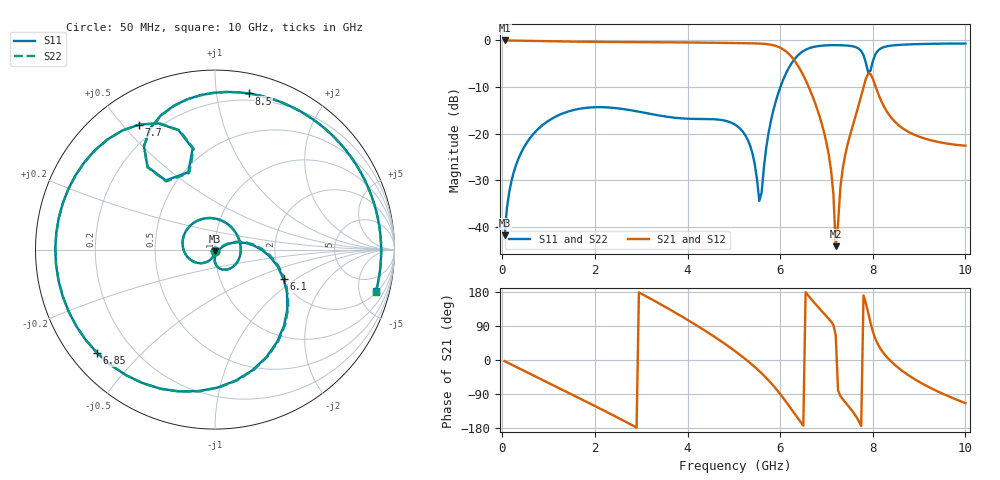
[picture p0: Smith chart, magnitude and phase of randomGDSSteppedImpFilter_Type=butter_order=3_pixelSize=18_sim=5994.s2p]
! freq	dB(S11)	phase(S11)	dB(S12)	phase(S12)
!  dB(S21)	phase(S21)	dB(S22)	phase(S22)
!S-par simulation data
#  GHz  S  DB  R 50
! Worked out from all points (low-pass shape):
!   200 points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, 50 MHz to 10 GHz, reference 50 ohm
!   highest |S21| = -0.01 dB at 50 MHz (marker M1); lowest = -44.2 dB at 7.2 GHz (marker M2)
!   |S21| within 3 dB of the highest: start of sweep to 6.199 GHz
!   lowest |S11| = -41.9 dB at 50 MHz (marker M3), VSWR 1.02, Z = 50 - j0.806 ohm
!   |S11| at or under -10 dB: start of sweep to 6.005 GHz
!   |S22| runs from -41.9 to -0.7 dB; largest |S21 - S12| = 0
!   S11 on the Smith chart (normalised r, x): 50 MHz: 1.00, -0.02; 6.1 GHz: 2.03, -0.80; 6.85 GHz: 0.08, -0.37; 7.7 GHz: 0.13, +0.56; 8.5 GHz: 0.15, +1.23; 10 GHz: 2.24, -7.26
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0.05  -41.87 -91.7  -0.01 -3.1  -0.01 -3.1  -41.87 -91.7
0.5  -22.42 -120.8  -0.07 -30.4  -0.07 -30.4  -22.42 -120.7
1.75  -14.54 163.0  -0.29 -106.0  -0.29 -106.0  -14.54 163.3
2.65  -14.78 106.9  -0.35 -162.1  -0.35 -162.1  -14.78 107.6
3.4  -16.14 57.4  -0.39 148.3  -0.39 148.3  -16.13 58.5
4.25  -16.86 -3.0  -0.46 87.2  -0.46 87.2  -16.85 -1.6
5.05  -18.24 -66.3  -0.56 21.2  -0.56 21.2  -18.24 -65.4
5.4  -24.17 -91.6  -0.62 -12.9  -0.62 -12.9  -24.21 -91.8
5.55  -34.44 -56.8  -0.67 -29.3  -0.67 -29.3  -35.18 -58.2
5.8  -17.30 17.3  -0.93 -60.4  -0.93 -60.4  -17.32 19.1
6.1  -7.64 -23.0  -2.15 -105.9  -2.15 -105.9  -7.64 -22.0
6.7  -1.45 -118.7  -12.01 156.4  -12.01 156.4  -1.45 -118.2
6.85  -1.18 -138.7  -16.26 135.6  -16.26 135.6  -1.18 -138.3
7.1  -1.02 -169.0  -27.93 101.3  -27.93 101.3  -1.03 -168.8
7.2  -1.01 179.7  -44.17 65.6  -44.17 65.6  -1.02 179.8
7.35  -1.05 162.9  -27.60 -103.1  -27.60 -103.1  -1.05 162.9
7.7  -1.78 121.2  -13.74 -161.5  -13.74 -161.5  -1.80 120.9
7.95  -6.50 125.4  -7.18 98.9  -7.18 98.9  -6.60 125.6
8.35  -1.18 90.8  -15.93 1.7  -15.93 1.7  -1.18 90.7
8.5  -1.01 77.6  -17.67 -15.4  -17.67 -15.4  -1.01 77.4
9.2  -0.73 28.3  -21.29 -70.8  -21.29 -70.8  -0.73 28.0
10  -0.66 -14.4  -22.60 -113.7  -22.60 -113.7  -0.66 -14.7
